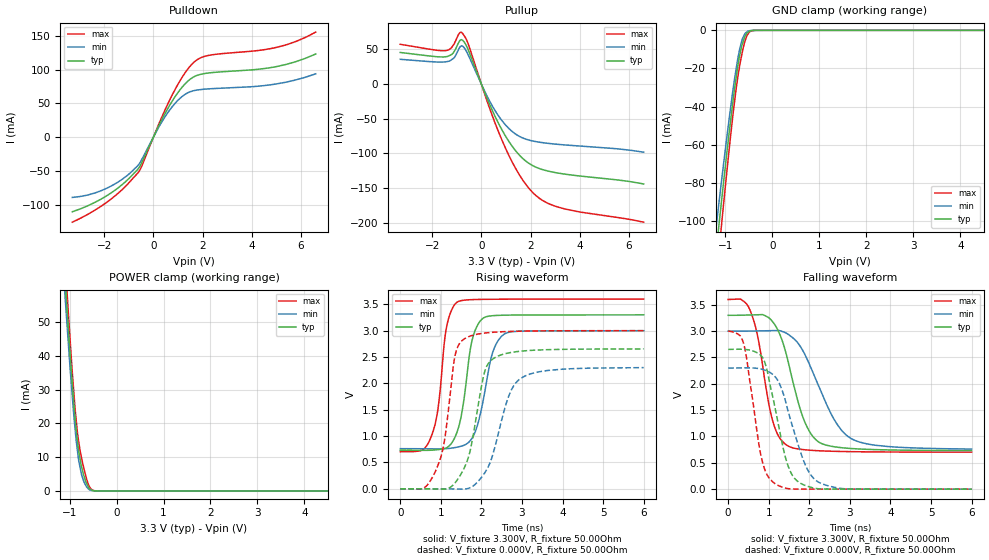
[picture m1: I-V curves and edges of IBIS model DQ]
| [Disclaimer]  This software code and all associated documentation, comments
| or other information (collectively "Software") is provided
| "AS IS" without warranty of any kind. MICRON TECHNOLOGY, INC.
| ("MTI") EXPRESSLY DISCLAIMS ALL WARRANTIES EXPRESS OR IMPLIED,
| INCLUDING BUT NOT LIMITED TO, NONINFRINGEMENT OF THIRD PARTY
| RIGHTS, AND ANY IMPLIED WARRANTIES OF MERCHANTABILITY OR
| FITNESS FOR ANY PARTICULAR PURPOSE. MTI DOES NOT WARRANT THAT
| THE SOFTWARE WILL MEET YOUR REQUIREMENTS, OR THAT THE
| OPERATION OF THE SOFTWARE WILL BE UNINTERRUPTED OR ERROR-FREE.
| FURTHERMORE, MTI DOES NOT MAKE ANY REPRESENTATIONS REGARDING
| THE USE OR THE RESULTS OF THE USE OF THE SOFTWARE IN TERMS OF
| ITS CORRECTNESS, ACCURACY, RELIABILITY, OR OTHERWISE. THE
| ENTIRE RISK ARISING OUT OF USE OR PERFORMANCE OF THE SOFTWARE
| REMAINS WITH YOU. IN NO EVENT SHALL MTI, ITS AFFILIATED
| COMPANIES OR THEIR SUPPLIERS BE LIABLE FOR ANY DIRECT,
| INDIRECT, CONSEQUENTIAL, INCIDENTAL, OR SPECIAL DAMAGES
| (INCLUDING, WITHOUT LIMITATION, DAMAGES FOR LOSS OF PROFITS,
| BUSINESS INTERRUPTION, OR LOSS OF INFORMATION) ARISING OUT OF
| YOUR USE OF OR INABILITY TO USE THE SOFTWARE, EVEN IF MTI HAS
| BEEN ADVISED OF THE POSSIBILITY OF SUCH DAMAGES. Because some
| jurisdictions prohibit the exclusion or limitation of
| liability for consequential or incidental damages, the above
| limitation may not apply to you.
| [Copyright] Copyright 2019 Micron Technology, Inc. All rights reserved.
| From y65a.ibs, Micron Technology, Inc.
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|   MODEL DQ
[Model]   DQ
Model_type   I/O
Vinl = 800.000mV
Vinh = 2.000V
Vmeas = 1.500V
Cref = 50.000pF
|   typ   min   max
C_comp   3.872pF   3.722pF   4.022pF
[Voltage Range]   3.300V   3.000V   3.600V
| Junction Temperature (Case temp is 35C typ, 70C min, 0C max)
[Temperature Range]   50.0   85.0   0.0
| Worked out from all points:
|   slope of the pulldown table from 0 to 0.495 V, typ, clamps not added: 13.6 ohm
|   slope of the pullup table from 0 to 0.495 V, typ, clamps not added: 11.8 ohm
|   GND clamp passes 1 mA (typ) near -0.52 V on its own axis
|   POWER clamp passes 1 mA (typ) near -0.59 V on its own axis
|   falling waveform, V_fixture 3.300V, R_fixture 50.00Ohm: 20-80 % time 559ps typ, 813ps min, 411ps max; typ from 3.3 V to 0.732 V
|   rising waveform, V_fixture 3.300V, R_fixture 50.00Ohm: 20-80 % time 297ps typ, 360ps min, 254ps max; typ from 0.732 V to 3.3 V
|   rising waveform, V_fixture 0.000V, R_fixture 50.00Ohm: 20-80 % time 398ps typ, 523ps min, 323ps max; typ from 0 V to 2.65 V
|   falling waveform, V_fixture 0.000V, R_fixture 50.00Ohm: 20-80 % time 442ps typ, 555ps min, 348ps max; typ from 2.65 V to 0 V
[Pulldown]
|   Voltage   I(typ)   I(min)   I(max)
-3.3V     -110.6mA   -89.43mA   -126.1mA
-1.865V   -86.08mA   -75.18mA   -95.65mA
-1.12V    -65.58mA   -58.42mA   -72.37mA
-630mV    -47.38mA   -42.06mA   -52.9mA
-450mV    -35.9mA    -31.53mA   -40.88mA
260mV     19.94mA    17.45mA    22.84mA
685mV     48.55mA    41.19mA    56.66mA
1.2V      75.31mA    61.02mA    90.44mA
1.725V    90.6mA     69.3mA     113.2mA
2.37V     95.37mA    71.61mA    121.7mA
5.025V    104.5mA    78.81mA    132.9mA
6.6V      123mA      93.6mA     155.4mA
[GND Clamp]
|   Voltage   I(typ)   I(min)   I(max)
-3.3V     -648.2mA   -583.3mA   -718.3mA
-1.215V   -120.2mA   -107.1mA   -135.9mA
-1.175V   -110.9mA   -98.58mA   -125.6mA
-1.145V   -103.9mA   -92.19mA   -117.9mA
-1.115V   -97.05mA   -85.8mA    -110.3mA
-1.08V    -89.06mA   -78.53mA   -101.5mA
-885mV    -46.49mA   -39.84mA   -54.53mA
-750mV    -21.03mA   -16.98mA   -27.04mA
-640mV    -7.233mA   -4.607mA   -11.42mA
-525mV    -1.083mA   -479.3uA   -2.175mA
-335mV    -6.535uA   -3.644uA   -17.46uA
6.6V      0A         0A         0A
[Pullup]
|   Voltage   I(typ)   I(min)   I(max)
-3.3V     45.67mA    35.81mA    57.46mA
-1.41V    39.69mA    32.42mA    48.58mA
-1.115V   46.66mA    37.65mA    57.45mA
-825mV    63.97mA    54.94mA    75.05mA
-545mV    50.28mA    42.81mA    58.93mA
255mV     -22.58mA   -19.02mA   -26.81mA
815mV     -64.54mA   -51.59mA   -78.84mA
1.46V     -98.93mA   -73.58mA   -125.7mA
2.085V    -117.5mA   -81.95mA   -156.2mA
2.685V    -125.2mA   -85.28mA   -171.5mA
3.38V     -129.7mA   -87.63mA   -179.8mA
6.6V      -143.9mA   -98.13mA   -199.1mA
[POWER Clamp]
|   Voltage   I(typ)   I(min)   I(max)
-3.3V     589.7mA    567.2mA    619.7mA
-1.11V    66.19mA    60.73mA    71.68mA
-1.085V   60.79mA    55.54mA    66.06mA
-1.055V   54.31mA    49.59mA    59.32mA
-1.025V   48.16mA    43.65mA    52.58mA
-910mV    26.15mA    22.54mA    29.42mA
-840mV    15.79mA    12.84mA    18.26mA
-810mV    12.23mA    9.494mA    15.06mA
-695mV    4.519mA    2.736mA    6.696mA
-580mV    767.9uA    377uA      1.331mA
-395mV    6.225uA    4.92uA     5.515uA
6.6V      0A         0A         0A
[Ramp]
R_load = 50.00Ohm
|   typ   min   max
dV/dt_r   1.592V/397.527ps   1.379V/523.035ps   1.800V/322.279ps
dV/dt_f   1.541V/558.831ps   1.343V/812.668ps   1.738V/409.831ps
[Falling Waveform]
V_fixture = 3.300V
V_fixture_min = 3.000V
V_fixture_max = 3.600V
R_fixture = 50.00Ohm
|   Time   V(typ)   V(min)   V(max)
0s        3.3V       3V         3.6V
540ps     3.306V     3.001V     3.396V
730ps     3.31V      3.004V     2.891V
1.09ns    3.184V     3.009V     1.317V
1.45ns    2.509V     2.953V     832.4mV
1.86ns    1.33V      2.603V     750.1mV
2.29ns    870.9mV    1.854V     727.1mV
2.72ns    793.8mV    1.194V     716.5mV
3.16ns    765.5mV    914.9mV    710.7mV
6ns       731.8mV    761.2mV    702.5mV
[Rising Waveform]
V_fixture = 3.300V
V_fixture_min = 3.000V
V_fixture_max = 3.600V
R_fixture = 50.00Ohm
|   Time   V(typ)   V(min)   V(max)
0s        731.8mV    761.2mV    702.5mV
770ps     732.1mV    757.6mV    1.002V
930ps     743.2mV    756.7mV    1.516V
1.14ns    777.5mV    762.1mV    3.059V
1.4ns     1.077V     790mV      3.54V
1.77ns    2.815V     960.6mV    3.589V
2.06ns    3.245V     1.74V      3.595V
2.28ns    3.284V     2.591V     3.596V
2.59ns    3.294V     2.947V     3.598V
6ns       3.3V       3V         3.6V
[Rising Waveform]
V_fixture = 0.000V
V_fixture_min = 0.000V
V_fixture_max = 0.000V
R_fixture = 50.00Ohm
|   Time   V(typ)   V(min)   V(max)
0s        25.07uV    32.29uV    17.75uV
890ps     -3.813mV   -45.53uV   370.6mV
1.09ns    -6.556mV   -1.516mV   913.3mV
1.35ns    112.1mV    -3.853mV   2.523V
1.58ns    399.7mV    -5.461mV   2.845V
2.07ns    2.19V      287.5mV    2.954V
2.32ns    2.483V     753.1mV    2.972V
2.72ns    2.585V     1.844V     2.986V
3.07ns    2.618V     2.138V     2.992V
6ns       2.653V     2.299V     3V
[Falling Waveform]
V_fixture = 0.000V
V_fixture_min = 0.000V
V_fixture_max = 0.000V
R_fixture = 50.00Ohm
|   Time   V(typ)   V(min)   V(max)
0s        2.653V     2.299V     3V
370ps     2.655V     2.303V     2.79V
820ps     2.527V     2.278V     598.2mV
940ps     2.313V     2.249V     301.9mV
1.17ns    1.489V     2.123V     97.88mV
1.39ns    668.8mV    1.737V     24.66mV
1.57ns    279.3mV    1.234V     4.05mV
1.92ns    64.24mV    428.1mV    1.246mV
2.21ns    8.493mV    141.2mV    749.6uV
6ns       25.07uV    32.29uV    17.75uV
